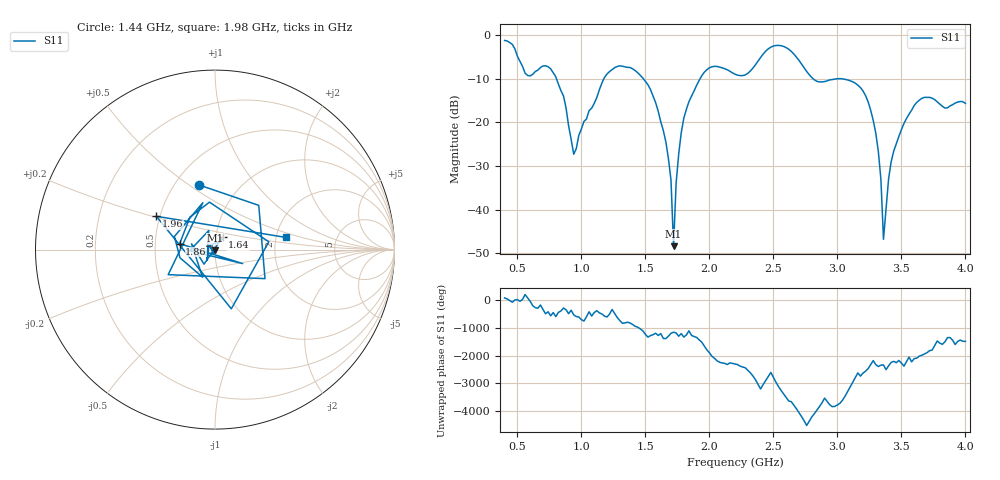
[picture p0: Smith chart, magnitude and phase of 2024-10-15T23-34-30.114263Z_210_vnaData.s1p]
! Created with skrf (http://scikit-rf.org).
# Hz S RI R 50.0
!freq ReS11 ImS11
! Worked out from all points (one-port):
!   181 points, 400 MHz to 4 GHz, reference 50 ohm
!   lowest |S11| = -48.4 dB at 1.72 GHz (marker M1), VSWR 1.01, Z = 50.1 - j0.373 ohm
!   |S11| at or under -10 dB: 805.4 MHz to 1.175 GHz (369.9 MHz wide, 37.4 % of centre); 1.484 GHz to 1.927 GHz (442.7 MHz wide, 26 % of centre); 3.034 GHz to end of sweep (the widest 3 of 4)
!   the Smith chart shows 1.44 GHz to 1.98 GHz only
!   S11 on the Smith chart (normalised r, x): 1.44 GHz: 0.66, +0.55; 1.64 GHz: 1.08, +0.15; 1.86 GHz: 0.67, +0.05; 1.96 GHz: 0.48, +0.21; 1.98 GHz: 2.27, +0.37
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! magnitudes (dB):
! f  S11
! 400 MHz  -1.2
! 580 MHz  -9.2
! 760 MHz  -7.7
! 860 MHz  -13.9
! 940 MHz  -27.3
! 1.18 GHz  -9.7
! 1.3 GHz  -7.0
! 1.44 GHz  -8.6
! 1.64 GHz  -21.8
! 1.7 GHz  -33.2
! 1.72 GHz  -48.4
! 1.74 GHz  -33.9
! 1.76 GHz  -27.3
! 1.86 GHz  -14.0
! 1.96 GHz  -8.5
! 1.98 GHz  -7.9
! 2.2 GHz  -8.9
! 2.5 GHz  -2.5
! 2.66 GHz  -4.3
! 2.84 GHz  -10.6
! 3.1 GHz  -10.5
! 3.28 GHz  -19.5
! 3.34 GHz  -33.1
! 3.36 GHz  -46.8
! 3.42 GHz  -29.0
! 3.56 GHz  -18.1
! 3.68 GHz  -14.3
! 4 GHz  -15.6
